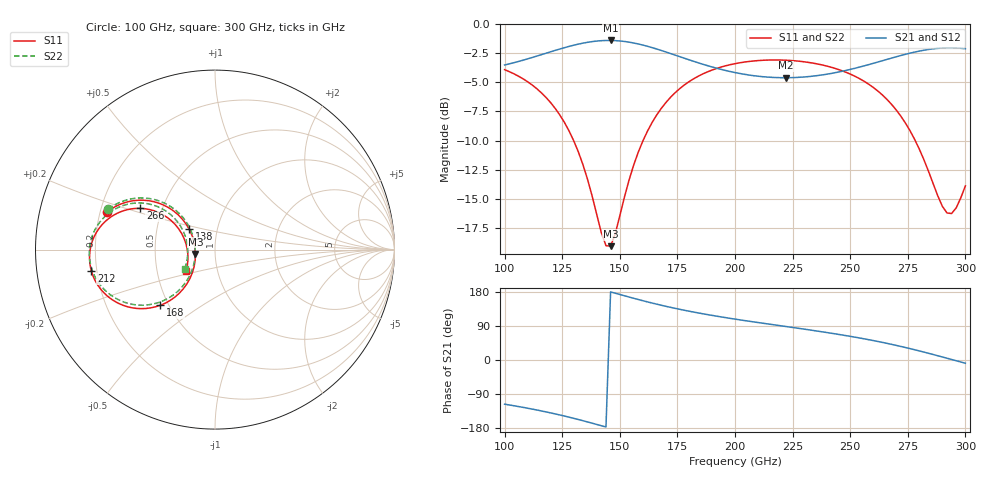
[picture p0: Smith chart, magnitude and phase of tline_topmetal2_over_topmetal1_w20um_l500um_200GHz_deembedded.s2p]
! Created with skrf 2.0.1 (http://scikit-rf.org).
# GHz S DB R 50.0
!freq dBS11 angS11 dBS21 angS21 dBS12 angS12 dBS22 angS22
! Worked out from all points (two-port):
!   101 points, 100 GHz to 300 GHz, reference 50 ohm
!   highest |S21| = -1.41 dB at 146 GHz (marker M1); lowest = -4.6 dB at 222 GHz (marker M2)
!   |S21| within 3 dB of the highest: start of sweep to 207.3 GHz; 236.3 GHz to end of sweep
!   lowest |S11| = -19.1 dB at 146 GHz (marker M3), VSWR 1.25, Z = 40.1 - j1.96 ohm
!   |S11| at or under -10 dB: 130 GHz to 160.1 GHz (30.12 GHz wide, 20.8 % of centre); 278.2 GHz to end of sweep
!   |S22| runs from -19.0 to -3.1 dB; largest |S21 - S12| = 9.1e-14
!   S11 on the Smith chart (normalised r, x): 100 GHz: 0.23, +0.16; 138 GHz: 0.73, +0.17; 168 GHz: 0.45, -0.35; 212 GHz: 0.18, -0.08; 266 GHz: 0.38, +0.22; 300 GHz: 0.70, -0.18
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100  -3.92 160.9  -3.51 -116.6  -3.51 -116.6  -3.92 159.4
110  -4.95 152.4  -2.99 -127.3  -2.99 -127.3  -4.96 150.7
120  -6.75 143.6  -2.38 -139.6  -2.38 -139.6  -6.75 141.8
128  -9.18 137.8  -1.92 -150.9  -1.92 -150.9  -9.19 135.9
134  -12.07 137.0  -1.64 -160.2  -1.64 -160.2  -12.07 135.0
138  -14.77 141.7  -1.51 -166.7  -1.51 -166.7  -14.76 139.7
144  -19.02 173.9  -1.41 -176.9  -1.41 -176.9  -19.00 171.8
146  -19.06 -167.5  -1.41 179.7  -1.41 179.7  -19.04 -169.8
158  -11.00 -128.9  -1.71 159.7  -1.71 159.7  -11.00 -131.4
168  -7.24 -134.5  -2.27 144.5  -2.27 144.5  -7.24 -137.0
182  -4.70 -146.8  -3.20 126.5  -3.20 126.5  -4.71 -149.6
200  -3.40 -161.5  -4.16 107.9  -4.16 107.9  -3.40 -164.6
212  -3.11 -170.2  -4.52 97.1  -4.52 97.1  -3.11 -173.5
222  -3.10 -177.2  -4.61 88.4  -4.61 88.4  -3.11 179.4
234  -3.36 174.5  -4.46 77.9  -4.46 77.9  -3.36 170.9
250  -4.29 162.9  -3.89 62.4  -3.89 62.4  -4.30 159.0
266  -6.48 151.0  -3.03 43.8  -3.03 43.8  -6.48 146.9
268  -6.90 149.7  -2.92 41.2  -2.92 41.2  -6.91 145.6
280  -10.73 146.5  -2.32 24.0  -2.32 24.0  -10.75 142.1
292  -16.21 179.1  -2.04 4.7  -2.04 4.7  -16.27 174.6
296  -15.78 -158.3  -2.05 -1.9  -2.05 -1.9  -15.84 -162.7
300  -13.89 -143.1  -2.12 -8.5  -2.12 -8.5  -13.93 -147.4
